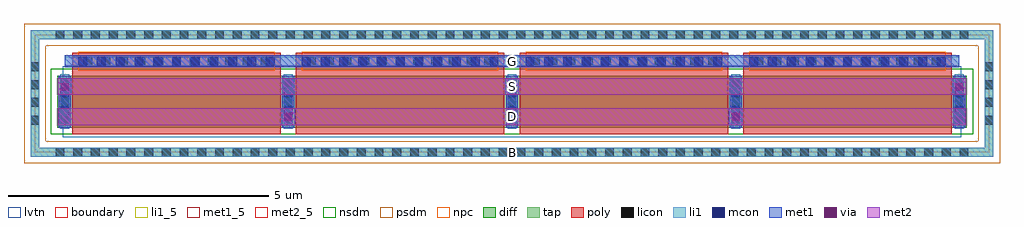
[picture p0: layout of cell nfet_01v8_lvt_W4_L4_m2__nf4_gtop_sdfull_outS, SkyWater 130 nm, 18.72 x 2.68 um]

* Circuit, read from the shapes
.subckt nfet_01v8_lvt_W4_L4_m2__nf4_gtop_sdfull_outS B D G S
XM1 D G S B sky130_fd_pr__nfet_01v8_lvt w=1 l=4 m=4
.ends

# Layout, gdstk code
import gdstk
lib = gdstk.Library(unit=1e-6, precision=1e-09)
def R(c, l, rs):  # rectangles x0, y0, x1, y1
    for r in rs: c.add(gdstk.rectangle(r[:2], r[2:], *l))
def A(c, l, x, y, w, h, nx, ny, dx, dy):  # array of equal rectangles
    R(c, l, [(x+i*dx, y+j*dy, x+i*dx+w, y+j*dy+h) for i in range(nx) for j in range(ny)])
diff = (65, 20)
tap = (65, 44)
poly = (66, 20)
licon = (66, 44)
li1_5 = (67, 5)
li1 = (67, 20)
mcon = (67, 44)
met1_5 = (68, 5)
met1 = (68, 20)
via = (68, 44)
met2_5 = (69, 5)
met2 = (69, 20)
nsdm = (93, 44)
psdm = (94, 20)
npc = (95, 20)
lvtn = (125, 44)
boundary = (235, 4)

sky130_fd_pr__nfet_01v8_ = lib.new_cell('sky130_fd_pr__nfet_01v8_lvt_KW35PD')
R(sky130_fd_pr__nfet_01v8_, diff, [(-8.725,-0.655,8.725,0.345)])
R(sky130_fd_pr__nfet_01v8_, tap, [(-9.235,-1.215,9.235,-1.045), (-9.235,-1.045,-9.065,1.045), (9.065,-1.045,9.235,1.045), (-9.235,1.045,9.235,1.215)])
A(sky130_fd_pr__nfet_01v8_, poly, -8.435, -0.785, 4, 1.57, 4, 1, 4.29, 0)
A(sky130_fd_pr__nfet_01v8_, licon, -8.755, -1.215, 0.17, 0.17, 52, 2, 0.34, 2.26)
A(sky130_fd_pr__nfet_01v8_, licon, -9.235, -0.595, 0.17, 0.17, 1, 4, 0, 0.34)
A(sky130_fd_pr__nfet_01v8_, licon, 9.065, -0.595, 0.17, 0.17, 1, 4, 0, 0.34)
A(sky130_fd_pr__nfet_01v8_, licon, -8.665, -0.58, 0.17, 0.17, 5, 3, 4.29, 0.34)
A(sky130_fd_pr__nfet_01v8_, licon, -8.22, 0.535, 0.17, 0.17, 11, 1, 0.34, 0)
A(sky130_fd_pr__nfet_01v8_, licon, -3.93, 0.535, 0.17, 0.17, 11, 1, 0.34, 0)
A(sky130_fd_pr__nfet_01v8_, licon, 0.36, 0.535, 0.17, 0.17, 11, 1, 0.34, 0)
A(sky130_fd_pr__nfet_01v8_, licon, 4.65, 0.535, 0.17, 0.17, 11, 1, 0.34, 0)
A(sky130_fd_pr__nfet_01v8_, li1, -8.665, -0.675, 0.17, 1.04, 5, 1, 4.29, 0)
R(sky130_fd_pr__nfet_01v8_, li1, [(-9.235,-1.215,9.235,-1.045), (-9.235,-1.045,-9.065,1.045), (9.065,-1.045,9.235,1.045), (-8.58,0.535,8.58,0.705), (-9.235,1.045,9.235,1.215)])
A(sky130_fd_pr__nfet_01v8_, mcon, -8.665, -0.42, 0.17, 0.17, 5, 2, 4.29, 0.36)
A(sky130_fd_pr__nfet_01v8_, mcon, -8.32, 0.535, 0.17, 0.17, 11, 1, 0.36, 0)
A(sky130_fd_pr__nfet_01v8_, mcon, -4.03, 0.535, 0.17, 0.17, 11, 1, 0.36, 0)
A(sky130_fd_pr__nfet_01v8_, mcon, 0.26, 0.535, 0.17, 0.17, 11, 1, 0.36, 0)
A(sky130_fd_pr__nfet_01v8_, mcon, 4.55, 0.535, 0.17, 0.17, 11, 1, 0.36, 0)
A(sky130_fd_pr__nfet_01v8_, met1, -8.695, -0.655, 0.23, 1, 5, 1, 4.29, 0)
A(sky130_fd_pr__nfet_01v8_, met1, -8.415, 0.505, 3.96, 0.03, 4, 2, 4.29, 0.2)
R(sky130_fd_pr__nfet_01v8_, met1, [(-8.58,0.535,8.58,0.705)])
R(sky130_fd_pr__nfet_01v8_, nsdm, [(-8.85,-0.78,8.85,0.47)])
R(sky130_fd_pr__nfet_01v8_, psdm, [(-9.36,-1.34,9.36,-0.92), (-9.36,-0.92,-8.94,0.92), (8.94,-0.92,9.36,0.92), (-9.36,0.92,9.36,1.34)])
A(sky130_fd_pr__nfet_01v8_, npc, -8.32, 0.435, 3.77, 0.37, 4, 1, 4.29, 0)
R(sky130_fd_pr__nfet_01v8_, lvtn, [(-8.615,-0.835,8.615,0.525)])
R(sky130_fd_pr__nfet_01v8_, boundary, [(-9.15,-1.13,9.15,1.13)])
sky130_fd_pr__nfet_01v8_.add(gdstk.Label('B', (0,-1.13), layer=67, texttype=5))
sky130_fd_pr__nfet_01v8_.add(gdstk.Label('D0', (-8.58,-0.155), layer=67, texttype=5))
sky130_fd_pr__nfet_01v8_.add(gdstk.Label('G', (6.435,0.62), layer=67, texttype=5))
sky130_fd_pr__nfet_01v8_.add(gdstk.Label('G', (2.145,0.62), layer=67, texttype=5))
sky130_fd_pr__nfet_01v8_.add(gdstk.Label('G', (-2.145,0.62), layer=67, texttype=5))
sky130_fd_pr__nfet_01v8_.add(gdstk.Label('G', (-6.435,0.62), layer=67, texttype=5))
sky130_fd_pr__nfet_01v8_.add(gdstk.Label('S1', (-4.29,-0.155), layer=67, texttype=5))
sky130_fd_pr__nfet_01v8_.add(gdstk.Label('D2', (0,-0.155), layer=67, texttype=5))
sky130_fd_pr__nfet_01v8_.add(gdstk.Label('S3', (4.29,-0.155), layer=67, texttype=5))

nfet_01v8_lvt_w4_l4_m2__ = lib.new_cell('nfet_01v8_lvt_W4_L4_m2__nf4_gtop_sdfull_outS')
R(nfet_01v8_lvt_w4_l4_m2__, li1_5, [(9.065,-0.085,9.235,0.085)])
R(nfet_01v8_lvt_w4_l4_m2__, li1, [(9.065,-0.085,9.235,0.085)])
R(nfet_01v8_lvt_w4_l4_m2__, met1_5, [(0.57,1.635,17.73,1.865)])
A(nfet_01v8_lvt_w4_l4_m2__, met1, 0.44, 1.105, 0.26, 0.32, 3, 1, 8.58, 0)
R(nfet_01v8_lvt_w4_l4_m2__, met1, [(4.73,0.525,4.99,0.845), (13.31,0.525,13.57,0.845), (0.57,1.635,17.73,1.865)])
A(nfet_01v8_lvt_w4_l4_m2__, via, 0.495, 1.19, 0.15, 0.15, 3, 1, 8.58, 0)
R(nfet_01v8_lvt_w4_l4_m2__, via, [(4.785,0.61,4.935,0.76), (13.365,0.61,13.515,0.76)])
R(nfet_01v8_lvt_w4_l4_m2__, met2_5, [(0.435,0.525,17.865,0.845), (0.435,1.105,17.865,1.425)])
R(nfet_01v8_lvt_w4_l4_m2__, met2, [(0.435,0.525,17.865,0.845), (0.435,1.105,17.865,1.425)])
nfet_01v8_lvt_w4_l4_m2__.add(gdstk.Reference(sky130_fd_pr__nfet_01v8_, (9.15,1.13)))
nfet_01v8_lvt_w4_l4_m2__.add(gdstk.Label('S', (9.15,1.265), layer=69, texttype=5))
nfet_01v8_lvt_w4_l4_m2__.add(gdstk.Label('D', (9.15,0.685), layer=69, texttype=5))
nfet_01v8_lvt_w4_l4_m2__.add(gdstk.Label('G', (9.15,1.75), layer=68, texttype=5))
nfet_01v8_lvt_w4_l4_m2__.add(gdstk.Label('B', (9.15,0), layer=67, texttype=5))

lib.write_gds('nfet_01v8_lvt_W4_L4_m2__nf4_gtop_sdfull_outS.gds')
